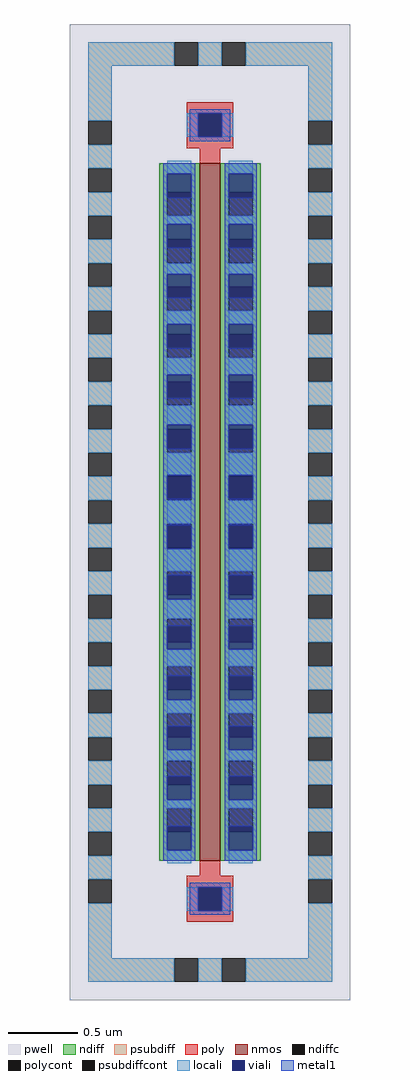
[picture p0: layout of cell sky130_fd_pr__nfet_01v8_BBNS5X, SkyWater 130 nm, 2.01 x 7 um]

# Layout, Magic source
magic
tech sky130A
magscale 1 2
<< pwell >>
rect -201 -700 201 700
<< nmos >>
rect -15 -500 15 500
<< ndiff >>
rect -73 459 -15 500
rect -73 425 -61 459
rect -27 425 -15 459
rect -73 391 -15 425
rect -73 357 -61 391
rect -27 357 -15 391
rect -73 323 -15 357
rect -73 289 -61 323
rect -27 289 -15 323
rect -73 255 -15 289
rect -73 221 -61 255
rect -27 221 -15 255
rect -73 187 -15 221
rect -73 153 -61 187
rect -27 153 -15 187
rect -73 119 -15 153
rect -73 85 -61 119
rect -27 85 -15 119
rect -73 51 -15 85
rect -73 17 -61 51
rect -27 17 -15 51
rect -73 -17 -15 17
rect -73 -51 -61 -17
rect -27 -51 -15 -17
rect -73 -85 -15 -51
rect -73 -119 -61 -85
rect -27 -119 -15 -85
rect -73 -153 -15 -119
rect -73 -187 -61 -153
rect -27 -187 -15 -153
rect -73 -221 -15 -187
rect -73 -255 -61 -221
rect -27 -255 -15 -221
rect -73 -289 -15 -255
rect -73 -323 -61 -289
rect -27 -323 -15 -289
rect -73 -357 -15 -323
rect -73 -391 -61 -357
rect -27 -391 -15 -357
rect -73 -425 -15 -391
rect -73 -459 -61 -425
rect -27 -459 -15 -425
rect -73 -500 -15 -459
rect 15 459 73 500
rect 15 425 27 459
rect 61 425 73 459
rect 15 391 73 425
rect 15 357 27 391
rect 61 357 73 391
rect 15 323 73 357
rect 15 289 27 323
rect 61 289 73 323
rect 15 255 73 289
rect 15 221 27 255
rect 61 221 73 255
rect 15 187 73 221
rect 15 153 27 187
rect 61 153 73 187
rect 15 119 73 153
rect 15 85 27 119
rect 61 85 73 119
rect 15 51 73 85
rect 15 17 27 51
rect 61 17 73 51
rect 15 -17 73 17
rect 15 -51 27 -17
rect 61 -51 73 -17
rect 15 -85 73 -51
rect 15 -119 27 -85
rect 61 -119 73 -85
rect 15 -153 73 -119
rect 15 -187 27 -153
rect 61 -187 73 -153
rect 15 -221 73 -187
rect 15 -255 27 -221
rect 61 -255 73 -221
rect 15 -289 73 -255
rect 15 -323 27 -289
rect 61 -323 73 -289
rect 15 -357 73 -323
rect 15 -391 27 -357
rect 61 -391 73 -357
rect 15 -425 73 -391
rect 15 -459 27 -425
rect 61 -459 73 -425
rect 15 -500 73 -459
<< ndiffc >>
rect -61 425 -27 459
rect -61 357 -27 391
rect -61 289 -27 323
rect -61 221 -27 255
rect -61 153 -27 187
rect -61 85 -27 119
rect -61 17 -27 51
rect -61 -51 -27 -17
rect -61 -119 -27 -85
rect -61 -187 -27 -153
rect -61 -255 -27 -221
rect -61 -323 -27 -289
rect -61 -391 -27 -357
rect -61 -459 -27 -425
rect 27 425 61 459
rect 27 357 61 391
rect 27 289 61 323
rect 27 221 61 255
rect 27 153 61 187
rect 27 85 61 119
rect 27 17 61 51
rect 27 -51 61 -17
rect 27 -119 61 -85
rect 27 -187 61 -153
rect 27 -255 61 -221
rect 27 -323 61 -289
rect 27 -391 61 -357
rect 27 -459 61 -425
<< psubdiff >>
rect -175 640 -51 674
rect -17 640 17 674
rect 51 640 175 674
rect -175 561 -141 640
rect -175 493 -141 527
rect 141 561 175 640
rect -175 425 -141 459
rect -175 357 -141 391
rect -175 289 -141 323
rect -175 221 -141 255
rect -175 153 -141 187
rect -175 85 -141 119
rect -175 17 -141 51
rect -175 -51 -141 -17
rect -175 -119 -141 -85
rect -175 -187 -141 -153
rect -175 -255 -141 -221
rect -175 -323 -141 -289
rect -175 -391 -141 -357
rect -175 -459 -141 -425
rect -175 -527 -141 -493
rect 141 493 175 527
rect 141 425 175 459
rect 141 357 175 391
rect 141 289 175 323
rect 141 221 175 255
rect 141 153 175 187
rect 141 85 175 119
rect 141 17 175 51
rect 141 -51 175 -17
rect 141 -119 175 -85
rect 141 -187 175 -153
rect 141 -255 175 -221
rect 141 -323 175 -289
rect 141 -391 175 -357
rect 141 -459 175 -425
rect -175 -640 -141 -561
rect 141 -527 175 -493
rect 141 -640 175 -561
rect -175 -674 -51 -640
rect -17 -674 17 -640
rect 51 -674 175 -640
<< psubdiffcont >>
rect -51 640 -17 674
rect 17 640 51 674
rect -175 527 -141 561
rect 141 527 175 561
rect -175 459 -141 493
rect -175 391 -141 425
rect -175 323 -141 357
rect -175 255 -141 289
rect -175 187 -141 221
rect -175 119 -141 153
rect -175 51 -141 85
rect -175 -17 -141 17
rect -175 -85 -141 -51
rect -175 -153 -141 -119
rect -175 -221 -141 -187
rect -175 -289 -141 -255
rect -175 -357 -141 -323
rect -175 -425 -141 -391
rect -175 -493 -141 -459
rect 141 459 175 493
rect 141 391 175 425
rect 141 323 175 357
rect 141 255 175 289
rect 141 187 175 221
rect 141 119 175 153
rect 141 51 175 85
rect 141 -17 175 17
rect 141 -85 175 -51
rect 141 -153 175 -119
rect 141 -221 175 -187
rect 141 -289 175 -255
rect 141 -357 175 -323
rect 141 -425 175 -391
rect 141 -493 175 -459
rect -175 -561 -141 -527
rect 141 -561 175 -527
rect -51 -674 -17 -640
rect 17 -674 51 -640
<< poly >>
rect -33 572 33 588
rect -33 538 -17 572
rect 17 538 33 572
rect -33 522 33 538
rect -15 500 15 522
rect -15 -522 15 -500
rect -33 -538 33 -522
rect -33 -572 -17 -538
rect 17 -572 33 -538
rect -33 -588 33 -572
<< polycont >>
rect -17 538 17 572
rect -17 -572 17 -538
<< locali >>
rect -175 640 -51 674
rect -17 640 17 674
rect 51 640 175 674
rect -175 561 -141 640
rect -33 538 -17 572
rect 17 538 33 572
rect 141 561 175 640
rect -175 493 -141 527
rect -175 425 -141 459
rect -175 357 -141 391
rect -175 289 -141 323
rect -175 221 -141 255
rect -175 153 -141 187
rect -175 85 -141 119
rect -175 17 -141 51
rect -175 -51 -141 -17
rect -175 -119 -141 -85
rect -175 -187 -141 -153
rect -175 -255 -141 -221
rect -175 -323 -141 -289
rect -175 -391 -141 -357
rect -175 -459 -141 -425
rect -175 -527 -141 -493
rect -61 485 -27 504
rect -61 413 -27 425
rect -61 341 -27 357
rect -61 269 -27 289
rect -61 197 -27 221
rect -61 125 -27 153
rect -61 53 -27 85
rect -61 -17 -27 17
rect -61 -85 -27 -53
rect -61 -153 -27 -125
rect -61 -221 -27 -197
rect -61 -289 -27 -269
rect -61 -357 -27 -341
rect -61 -425 -27 -413
rect -61 -504 -27 -485
rect 27 485 61 504
rect 27 413 61 425
rect 27 341 61 357
rect 27 269 61 289
rect 27 197 61 221
rect 27 125 61 153
rect 27 53 61 85
rect 27 -17 61 17
rect 27 -85 61 -53
rect 27 -153 61 -125
rect 27 -221 61 -197
rect 27 -289 61 -269
rect 27 -357 61 -341
rect 27 -425 61 -413
rect 27 -504 61 -485
rect 141 493 175 527
rect 141 425 175 459
rect 141 357 175 391
rect 141 289 175 323
rect 141 221 175 255
rect 141 153 175 187
rect 141 85 175 119
rect 141 17 175 51
rect 141 -51 175 -17
rect 141 -119 175 -85
rect 141 -187 175 -153
rect 141 -255 175 -221
rect 141 -323 175 -289
rect 141 -391 175 -357
rect 141 -459 175 -425
rect 141 -527 175 -493
rect -175 -640 -141 -561
rect -33 -572 -17 -538
rect 17 -572 33 -538
rect 141 -640 175 -561
rect -175 -674 -51 -640
rect -17 -674 17 -640
rect 51 -674 175 -640
<< viali >>
rect -17 538 17 572
rect -61 459 -27 485
rect -61 451 -27 459
rect -61 391 -27 413
rect -61 379 -27 391
rect -61 323 -27 341
rect -61 307 -27 323
rect -61 255 -27 269
rect -61 235 -27 255
rect -61 187 -27 197
rect -61 163 -27 187
rect -61 119 -27 125
rect -61 91 -27 119
rect -61 51 -27 53
rect -61 19 -27 51
rect -61 -51 -27 -19
rect -61 -53 -27 -51
rect -61 -119 -27 -91
rect -61 -125 -27 -119
rect -61 -187 -27 -163
rect -61 -197 -27 -187
rect -61 -255 -27 -235
rect -61 -269 -27 -255
rect -61 -323 -27 -307
rect -61 -341 -27 -323
rect -61 -391 -27 -379
rect -61 -413 -27 -391
rect -61 -459 -27 -451
rect -61 -485 -27 -459
rect 27 459 61 485
rect 27 451 61 459
rect 27 391 61 413
rect 27 379 61 391
rect 27 323 61 341
rect 27 307 61 323
rect 27 255 61 269
rect 27 235 61 255
rect 27 187 61 197
rect 27 163 61 187
rect 27 119 61 125
rect 27 91 61 119
rect 27 51 61 53
rect 27 19 61 51
rect 27 -51 61 -19
rect 27 -53 61 -51
rect 27 -119 61 -91
rect 27 -125 61 -119
rect 27 -187 61 -163
rect 27 -197 61 -187
rect 27 -255 61 -235
rect 27 -269 61 -255
rect 27 -323 61 -307
rect 27 -341 61 -323
rect 27 -391 61 -379
rect 27 -413 61 -391
rect 27 -459 61 -451
rect 27 -485 61 -459
rect -17 -572 17 -538
<< metal1 >>
rect -29 572 29 578
rect -29 538 -17 572
rect 17 538 29 572
rect -29 532 29 538
rect -67 485 -21 500
rect -67 451 -61 485
rect -27 451 -21 485
rect -67 413 -21 451
rect -67 379 -61 413
rect -27 379 -21 413
rect -67 341 -21 379
rect -67 307 -61 341
rect -27 307 -21 341
rect -67 269 -21 307
rect -67 235 -61 269
rect -27 235 -21 269
rect -67 197 -21 235
rect -67 163 -61 197
rect -27 163 -21 197
rect -67 125 -21 163
rect -67 91 -61 125
rect -27 91 -21 125
rect -67 53 -21 91
rect -67 19 -61 53
rect -27 19 -21 53
rect -67 -19 -21 19
rect -67 -53 -61 -19
rect -27 -53 -21 -19
rect -67 -91 -21 -53
rect -67 -125 -61 -91
rect -27 -125 -21 -91
rect -67 -163 -21 -125
rect -67 -197 -61 -163
rect -27 -197 -21 -163
rect -67 -235 -21 -197
rect -67 -269 -61 -235
rect -27 -269 -21 -235
rect -67 -307 -21 -269
rect -67 -341 -61 -307
rect -27 -341 -21 -307
rect -67 -379 -21 -341
rect -67 -413 -61 -379
rect -27 -413 -21 -379
rect -67 -451 -21 -413
rect -67 -485 -61 -451
rect -27 -485 -21 -451
rect -67 -500 -21 -485
rect 21 485 67 500
rect 21 451 27 485
rect 61 451 67 485
rect 21 413 67 451
rect 21 379 27 413
rect 61 379 67 413
rect 21 341 67 379
rect 21 307 27 341
rect 61 307 67 341
rect 21 269 67 307
rect 21 235 27 269
rect 61 235 67 269
rect 21 197 67 235
rect 21 163 27 197
rect 61 163 67 197
rect 21 125 67 163
rect 21 91 27 125
rect 61 91 67 125
rect 21 53 67 91
rect 21 19 27 53
rect 61 19 67 53
rect 21 -19 67 19
rect 21 -53 27 -19
rect 61 -53 67 -19
rect 21 -91 67 -53
rect 21 -125 27 -91
rect 61 -125 67 -91
rect 21 -163 67 -125
rect 21 -197 27 -163
rect 61 -197 67 -163
rect 21 -235 67 -197
rect 21 -269 27 -235
rect 61 -269 67 -235
rect 21 -307 67 -269
rect 21 -341 27 -307
rect 61 -341 67 -307
rect 21 -379 67 -341
rect 21 -413 27 -379
rect 61 -413 67 -379
rect 21 -451 67 -413
rect 21 -485 27 -451
rect 61 -485 67 -451
rect 21 -500 67 -485
rect -29 -538 29 -532
rect -29 -572 -17 -538
rect 17 -572 29 -538
rect -29 -578 29 -572
<< properties >>
string FIXED_BBOX -158 -657 158 657
<< end >>
